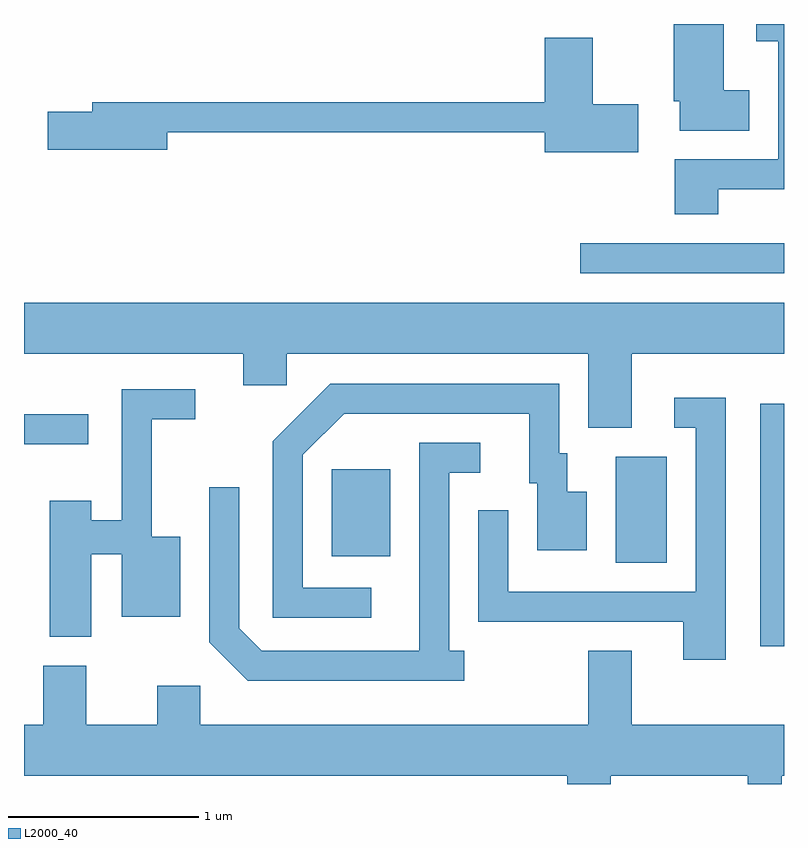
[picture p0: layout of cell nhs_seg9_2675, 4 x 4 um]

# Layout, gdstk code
import gdstk
lib = gdstk.Library(unit=1e-6, precision=1e-09)
def R(c, l, rs):  # rectangles x0, y0, x1, y1
    for r in rs: c.add(gdstk.rectangle(r[:2], r[2:], *l))
def P(c, l, *ps):  # polygons
    for p in ps: c.add(gdstk.Polygon(p, *l))
L2000_40 = (2000, 40)

nhs_seg9_2675 = lib.new_cell('nhs_seg9_2675')
R(nhs_seg9_2675, L2000_40, [(267.486,1999.156,267.611,2000.434), (266.726,1999.596,266.994,2000.154), (265.231,1999.631,265.539,2000.089), (263.611,2000.221,263.948,2000.379), (266.538,2001.121,267.611,2001.279)])
P(nhs_seg9_2675, L2000_40, [(267.264,2001.561),(267.611,2001.561),(267.611,2002.432),(267.466,2002.432),(267.466,2002.341),(267.581,2002.341),(267.581,2001.719),(267.036,2001.719),(267.036,2001.431),(267.264,2001.431)],
  [(267.429,2002.084),(267.294,2002.084),(267.294,2002.432),(267.031,2002.432),(267.031,2002.026),(267.061,2002.026),(267.061,2001.871),(267.429,2001.871)],
  [(266.844,2002.009),(266.604,2002.009),(266.604,2002.359),(266.351,2002.359),(266.351,2002.019),(263.971,2002.019),(263.971,2001.969),(263.736,2001.969),(263.736,2001.771),(264.364,2001.771),(264.364,2001.861),(266.351,2001.861),(266.351,2001.756),(266.844,2001.756)],
  [(266.809,2000.696),(267.611,2000.696),(267.611,2000.964),(263.611,2000.964),(263.611,2000.696),(264.766,2000.696),(264.766,2000.531),(264.994,2000.531),(264.994,2000.696),(266.581,2000.696),(266.581,2000.306),(266.809,2000.306)],
  [(265.438,1999.464),(265.079,1999.464),(265.079,2000.164),(265.297,2000.381),(266.271,2000.381),(266.271,2000.016),(266.311,2000.016),(266.311,1999.661),(266.574,1999.661),(266.574,1999.969),(266.469,1999.969),(266.469,2000.174),(266.429,2000.174),(266.429,2000.539),(265.224,2000.539),(264.921,2000.237),(264.921,1999.306),(265.438,1999.306)],
  [(263.964,1999.641),(264.126,1999.641),(264.126,1999.311),(264.434,1999.311),(264.434,1999.734),(264.284,1999.734),(264.284,2000.351),(264.513,2000.351),(264.513,2000.509),(264.126,2000.509),(264.126,1999.819),(263.964,1999.819),(263.964,1999.924),(263.746,1999.924),(263.746,1999.206),(263.964,1999.206)],
  [(267.304,2000.464),(267.033,2000.464),(267.033,2000.306),(267.146,2000.306),(267.146,1999.444),(266.159,1999.444),(266.159,1999.873),(266.001,1999.873),(266.001,1999.286),(267.081,1999.286),(267.081,1999.086),(267.304,1999.086)],
  [(265.928,1999.134),(265.849,1999.134),(265.849,2000.071),(266.013,2000.071),(266.013,2000.229),(265.691,2000.229),(265.691,1999.134),(264.862,1999.134),(264.744,1999.252),(264.744,1999.993),(264.586,1999.993),(264.586,1999.179),(264.789,1998.976),(265.928,1998.976)],
  [(266.699,1998.476),(267.421,1998.476),(267.421,1998.432),(267.599,1998.432),(267.599,1998.476),(267.611,1998.476),(267.611,1998.744),(266.809,1998.744),(266.809,1999.134),(266.581,1999.134),(266.581,1998.744),(264.539,1998.744),(264.539,1998.949),(264.311,1998.949),(264.311,1998.744),(263.939,1998.744),(263.939,1999.054),(263.711,1999.054),(263.711,1998.744),(263.611,1998.744),(263.611,1998.476),(266.471,1998.476),(266.471,1998.432),(266.699,1998.432)])

lib.write_gds('nhs_seg9_2675.gds')
